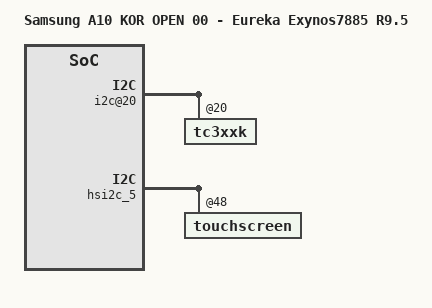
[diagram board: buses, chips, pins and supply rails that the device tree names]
/*
 * SAMSUNG EXYNOS7884B board device tree source

 *
 * Copyright (c) 2018 Samsung Electronics Co., Ltd.
 *		http://www.samsung.com
 *
 * This program is free software; you can redistribute it and/or modify
 * it under the terms of the GNU General Public License version 2 as
 * published by the Free Software Foundation.
*/

/dts-v1/;
/plugin/;

#include "exynos7884B-a10_common.dtsi"
#include "exynos7884B-a10_kor_open_gpio_00.dtsi"
/ {
	compatible = "samsung,A10 KOR OPEN 00", "samsung,EXYNOS7884B";

	dtbo-hw_rev = <0>;
    dtbo-hw_rev_end = <2>;


	fragment@model {
		target-path = "/";
		__overlay__ {
			#address-cells = <2>;
			#size-cells = <1>;

			model = "Samsung A10 KOR OPEN 00 - Eureka Exynos7885 R9.5";

			i2c@20 {
				tc3xxk@20 {
					coreriver,fw_name = "coreriver/tc305k_a10_eur_kor.fw";
				};
			};

			speedy@11CE0000 {
				audio_codec_cod3035x: cod3035x@03 {
					use-feature-flag = <0x29>;
				};
			};
		}; /* end of __overlay__ */
	}; /* end of fragment */
}; /* end of root */

&hsi2c_5 {
	touchscreen@48 {
		status = "okay";
	};
};
